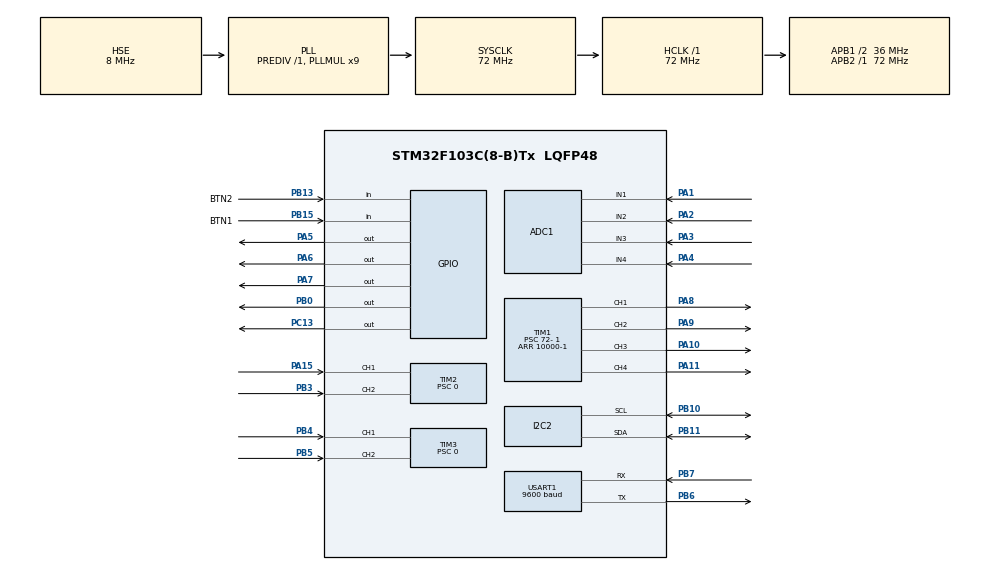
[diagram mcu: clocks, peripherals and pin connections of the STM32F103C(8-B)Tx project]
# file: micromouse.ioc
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ADC1.Channel-0\#ChannelRegularConversion=ADC_CHANNEL_1
ADC1.Channel-1\#ChannelRegularConversion=ADC_CHANNEL_2
ADC1.Channel-2\#ChannelRegularConversion=ADC_CHANNEL_3
ADC1.Channel-3\#ChannelRegularConversion=ADC_CHANNEL_4
ADC1.ContinuousConvMode=ENABLE
ADC1.NbrOfConversion=4
ADC1.NbrOfConversionFlag=1
ADC1.Rank-0\#ChannelRegularConversion=1
ADC1.Rank-1\#ChannelRegularConversion=2
ADC1.Rank-2\#ChannelRegularConversion=3
ADC1.Rank-3\#ChannelRegularConversion=4
ADC1.SamplingTime-0\#ChannelRegularConversion=ADC_SAMPLETIME_239CYCLES_5
ADC1.SamplingTime-1\#ChannelRegularConversion=ADC_SAMPLETIME_239CYCLES_5
ADC1.SamplingTime-2\#ChannelRegularConversion=ADC_SAMPLETIME_239CYCLES_5
ADC1.SamplingTime-3\#ChannelRegularConversion=ADC_SAMPLETIME_239CYCLES_5
ADC1.master=1
Dma.ADC1.0.Direction=DMA_PERIPH_TO_MEMORY
Dma.ADC1.0.Instance=DMA1_Channel1
Dma.ADC1.0.MemDataAlignment=DMA_MDATAALIGN_HALFWORD
Dma.ADC1.0.MemInc=DMA_MINC_ENABLE
Dma.ADC1.0.Mode=DMA_CIRCULAR
Dma.ADC1.0.PeriphDataAlignment=DMA_PDATAALIGN_HALFWORD
Dma.ADC1.0.PeriphInc=DMA_PINC_DISABLE
Dma.ADC1.0.Priority=DMA_PRIORITY_LOW
Dma.Request0=ADC1
I2C2.I2C_Mode=I2C_Fast
Mcu.Family=STM32F1
Mcu.Name=STM32F103C(8-B)Tx
Mcu.Package=LQFP48
NVIC.DMA1_Channel1_IRQn=true\:0\:0\:false\:false\:true\:false\:true\:true
NVIC.PriorityGroup=NVIC_PRIORITYGROUP_4
NVIC.TIM2_IRQn=true\:0\:0\:true\:false\:true\:true\:true\:true
NVIC.TIM3_IRQn=true\:0\:0\:true\:false\:true\:true\:true\:true
NVIC.TIM4_IRQn=true\:1\:0\:true\:false\:true\:true\:true\:true
PA1.Signal=ADCx_IN1
PA10.GPIO_Speed=GPIO_SPEED_FREQ_HIGH
PA10.Signal=S_TIM1_CH3
PA11.GPIO_Speed=GPIO_SPEED_FREQ_HIGH
PA11.Signal=S_TIM1_CH4
PA13.Mode=Serial_Wire
PA13.Signal=SYS_JTMS-SWDIO
PA14.Mode=Serial_Wire
PA14.Signal=SYS_JTCK-SWCLK
PA15.Signal=S_TIM2_CH1_ETR
PA2.Signal=ADCx_IN2
PA3.Signal=ADCx_IN3
PA4.Signal=ADCx_IN4
PA5.GPIO_Speed=GPIO_SPEED_FREQ_HIGH
PA5.Signal=GPIO_Output
PA6.GPIO_Speed=GPIO_SPEED_FREQ_HIGH
PA6.Signal=GPIO_Output
PA7.GPIO_Speed=GPIO_SPEED_FREQ_HIGH
PA7.Signal=GPIO_Output
PA8.GPIO_Speed=GPIO_SPEED_FREQ_HIGH
PA8.Signal=S_TIM1_CH1
PA9.GPIO_Speed=GPIO_SPEED_FREQ_HIGH
PA9.Signal=S_TIM1_CH2
PB0.GPIO_Speed=GPIO_SPEED_FREQ_HIGH
PB0.Signal=GPIO_Output
PB10.Mode=I2C
PB10.Signal=I2C2_SCL
PB11.Mode=I2C
PB11.Signal=I2C2_SDA
PB13.GPIO_Label=BTN2
PB13.GPIO_PuPd=GPIO_PULLDOWN
PB13.Signal=GPIO_Input
PB15.GPIO_Label=BTN1
PB15.GPIO_PuPd=GPIO_PULLDOWN
PB15.Signal=GPIO_Input
PB3.Signal=S_TIM2_CH2
PB4.Signal=S_TIM3_CH1
PB5.Signal=S_TIM3_CH2
PB6.Mode=Asynchronous
PB6.Signal=USART1_TX
PB7.Mode=Asynchronous
PB7.Signal=USART1_RX
PC13-TAMPER-RTC.Signal=GPIO_Output
PD0-OSC_IN.Mode=HSE-External-Oscillator
PD0-OSC_IN.Signal=RCC_OSC_IN
PD1-OSC_OUT.Mode=HSE-External-Oscillator
PD1-OSC_OUT.Signal=RCC_OSC_OUT
ProjectManager.HeapSize=0x200
ProjectManager.StackSize=0x400
ProjectManager.TargetToolchain=STM32CubeIDE
RCC.ADCPresc=RCC_ADCPCLK2_DIV6
RCC.AHBFreq_Value=72000000
RCC.APB1CLKDivider=RCC_HCLK_DIV2
RCC.APB1Freq_Value=36000000
RCC.APB1TimFreq_Value=72000000
RCC.APB2Freq_Value=72000000
RCC.APB2TimFreq_Value=72000000
RCC.HCLKFreq_Value=72000000
RCC.PLLMUL=RCC_PLL_MUL9
RCC.PLLSourceVirtual=RCC_PLLSOURCE_HSE
RCC.SYSCLKFreq_VALUE=72000000
RCC.SYSCLKSource=RCC_SYSCLKSOURCE_PLLCLK
RCC.USBFreq_Value=72000000
SH.ADCx_IN1.0=ADC1_IN1,IN1
SH.ADCx_IN2.0=ADC1_IN2,IN2
SH.ADCx_IN3.0=ADC1_IN3,IN3
SH.ADCx_IN4.0=ADC1_IN4,IN4
SH.S_TIM1_CH1.0=TIM1_CH1,PWM Generation1 CH1
SH.S_TIM1_CH2.0=TIM1_CH2,PWM Generation2 CH2
SH.S_TIM1_CH3.0=TIM1_CH3,PWM Generation3 CH3
SH.S_TIM1_CH4.0=TIM1_CH4,PWM Generation4 CH4
SH.S_TIM2_CH1_ETR.0=TIM2_CH1,Encoder_Interface
SH.S_TIM2_CH2.0=TIM2_CH2,Encoder_Interface
SH.S_TIM3_CH1.0=TIM3_CH1,Encoder_Interface
SH.S_TIM3_CH2.0=TIM3_CH2,Encoder_Interface
TIM1.AutoReloadPreload=TIM_AUTORELOAD_PRELOAD_ENABLE
TIM1.Channel-PWM\ Generation1\ CH1=TIM_CHANNEL_1
TIM1.Channel-PWM\ Generation2\ CH2=TIM_CHANNEL_2
TIM1.Channel-PWM\ Generation3\ CH3=TIM_CHANNEL_3
TIM1.Channel-PWM\ Generation4\ CH4=TIM_CHANNEL_4
TIM1.OCMode_PWM-PWM\ Generation3\ CH3=TIM_OCMODE_PWM1
TIM1.OCMode_PWM-PWM\ Generation4\ CH4=TIM_OCMODE_PWM1
TIM1.Period=10000-1
TIM1.Prescaler=72- 1
TIM2.AutoReloadPreload=TIM_AUTORELOAD_PRELOAD_DISABLE
TIM2.ClockDivision=TIM_CLOCKDIVISION_DIV1
TIM2.CounterMode=TIM_COUNTERMODE_UP
TIM2.EncoderMode=TIM_ENCODERMODE_TI12
TIM2.IC2Polarity=TIM_ICPOLARITY_RISING
TIM2.Prescaler=0
TIM3.ClockDivision=TIM_CLOCKDIVISION_DIV1
TIM3.CounterMode=TIM_COUNTERMODE_UP
TIM3.EncoderMode=TIM_ENCODERMODE_TI12
TIM3.IC1Prescaler=TIM_ICPSC_DIV1
TIM3.IC2Polarity=TIM_ICPOLARITY_FALLING
TIM3.Prescaler=0
TIM4.Period=1000 -1
TIM4.Prescaler=720-1
USART1.BaudRate=9600
USART1.Mode=MODE_TX
USART1.VirtualMode=VM_ASYNC
VP_TIM1_VS_ClockSourceINT.Mode=Internal
VP_TIM4_VS_ClockSourceINT.Mode=Internal
board=custom

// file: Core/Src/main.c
/* USER CODE BEGIN Header */
/**
 ******************************************************************************
 * @file           : main.c
 * @brief          : Main program body
 ******************************************************************************
 * @attention
 *
 * Copyright (c) 2025 STMicroelectronics.
 * All rights reserved.
 *
 * This software is licensed under terms that can be found in the LICENSE file
 * in the root directory of this software component.
 * If no LICENSE file comes with this software, it is provided AS-IS.
 *
 * Millis ++ in stm32f1xx_it.c
 ******************************************************************************
 */
/* USER CODE END Header */
#include "main.h"

ADC_HandleTypeDef hadc1;
DMA_HandleTypeDef hdma_adc1;

I2C_HandleTypeDef hi2c2;

TIM_HandleTypeDef htim1;
TIM_HandleTypeDef htim2;
TIM_HandleTypeDef htim3;
TIM_HandleTypeDef htim4;

UART_HandleTypeDef huart1;

void SystemClock_Config(void);
static void MX_GPIO_Init(void);
static void MX_DMA_Init(void);
static void MX_TIM1_Init(void);
static void MX_TIM2_Init(void);
static void MX_TIM3_Init(void);
static void MX_ADC1_Init(void);
static void MX_TIM4_Init(void);
static void MX_USART1_UART_Init(void);
static void MX_I2C2_Init(void);

/* USER CODE BEGIN 0 */
//void HAL_GPIO_EXTI_Callback(uint16_t GPIO_Pin) {
//	if(GPIO_Pin == BTN1_Pin) {
//		BTN_STATE1 = 1;
//	}
//	if(GPIO_Pin == BTN2_Pin) {
//		BTN_STATE2 = 1;
//	}
//}
void HAL_TIM_PeriodElapsedCallback(TIM_HandleTypeDef *htim) {

	if (htim == &htim4) {
		read_en_left(&encoder_left);
		read_en_right(&encoder_right);
	}
}

void HAL_ADC_ConvCpltCallback(ADC_HandleTypeDef *hadc) {
	if (hadc->Instance == ADC1) {
		HAL_ADC_Stop_DMA(hadc);  // Dừng ADC
		completeADC = 1;            // Dánh dấu đã hoàn tất
	}
}

void test2() {
	Move_to_middle(40, 180);
	PID_reset(&pid_steering);
	PID_reset(&pid_wall_stable);
	PID_reset(&pid_forward_right);
	PID_reset(&pid_forward_left);
//	delay_ms(5000);
	pushBack(&mouse_state, 0);

	// 10 bước đầu
	for (int i = 0; i < 10; i++) {
		pushBack(&mouse_state, 1);
	}
	// rẽ trái
	pushBack(&mouse_state, 3);
	// đi thẳng 3 steps
	for (int i = 0; i < 3; i++) {
		pushBack(&mouse_state, 1);
	}
	// rẽ trái
	pushBack(&mouse_state, 3);
	// đi thẳng 2 bước
	for (int i = 0; i < 2; i++) {
		pushBack(&mouse_state, 1);
	}

// rẽ phải
	pushBack(&mouse_state, 2);
	// đi 1 bước
	pushBack(&mouse_state, 1);

	// rẽ trái
	pushBack(&mouse_state, 3);
	// đi thẳng 1 bước
	pushBack(&mouse_state, 1);
	// rẽ phải
	pushBack(&mouse_state, 2);
	// đi thẳng 2 bước
	pushBack(&mouse_state, 1);
	for (int i = 0; i < 2; i++) {
		pushBack(&mouse_state, 1);
	}
	// rẽ phải
	pushBack(&mouse_state, 2);
	// đi thẳng 1 bước
	pushBack(&mouse_state, 1);
	// rẽ trái
	pushBack(&mouse_state, 3);
	// đi 1 bước
	pushBack(&mouse_state, 1);
	// rẽ trái
	pushBack(&mouse_state, 3);
	// đi 2 bước
	pushBack(&mouse_state, 1);
	pushBack(&mouse_state, 1);
	// rẽ trái
	pushBack(&mouse_state, 3);

	pushBack(&mouse_state, 1);
	pushBack(&mouse_state, 2);

	pushBack(&mouse_state, 1);
	pushBack(&mouse_state, 2);
	pushBack(&mouse_state, 1);

	//***********
	pushBack(&mouse_state, 2);

	for (int i = 0; i < 2; i++) {
		pushBack(&mouse_state, 1);
	}

	pushBack(&mouse_state, 3);
	pushBack(&mouse_state, 1);
	pushBack(&mouse_state, 3);
	pushBack(&mouse_state, 1);
	pushBack(&mouse_state, 2);
	pushBack(&mouse_state, 1);

	pushBack(&mouse_state, 0);
//	cnt_cell = 4;
	reset_encoder();
	for (int i = 0; i < mouse_state.size; i++) {
//		printf("%d\n\n", CNT_EXT);
		mouse_move();
		mouse_state.index++;
//		if (get(&mouse_state, mouse_state.index) == 2) {
//			encoder_cnt_left += 20;
//			encoder_cnt_right -= 20;
//		}
		calc_extra_cnt();

	}
	freeVector(&mouse_state);
//	Motor_stop();
}

void Solver() {
	Action nextMove = solver();
	switch (nextMove) {
	case FORWARD:
		Move_onecell();
		break;
	case RIGHT:
		delay_ms(400);
		Turn_right90_2();
		delay_ms(200);
		break;
	case LEFT:
		delay_ms(400);
		Turn_left90_2();
		delay_ms(200);
		break;
	case IDLE:
		break;
	}
}

int _write(int fd, char *ptr, int len) {
	HAL_StatusTypeDef hstatus;

	if (fd == 1 || fd == 2) {
		hstatus = HAL_UART_Transmit(&huart1, (uint8_t*) ptr, len,
				HAL_MAX_DELAY);
		if (hstatus == HAL_OK)
			return len;
		else
			return -1;
	}
	return -1;
}

/* USER CODE END 0 */

int main(void) {

	/* MCU Configuration--------------------------------------------------------*/

	/* Reset of all peripherals, Initializes the Flash interface and the Systick. */
	HAL_Init();

	/* Configure the system clock */
	SystemClock_Config();

	/* Initialize all configured peripherals */
	MX_GPIO_Init();
	MX_DMA_Init();
	MX_TIM1_Init();
	MX_TIM2_Init();
	MX_TIM3_Init();
	MX_ADC1_Init();
	MX_TIM4_Init();
	MX_USART1_UART_Init();
	MX_I2C2_Init();
	/* USER CODE BEGIN 2 */
//	store_data_memory(0x0801FC10, (uint8_t *) data, sizeof(data));
	HAL_GPIO_WritePin(GPIOC, GPIO_PIN_13, RESET);

	Motor_Init(&motor_right, &htim1, &htim1, TIM_CHANNEL_1, TIM_CHANNEL_2);
	Motor_Init(&motor_left, &htim1, &htim1, TIM_CHANNEL_3, TIM_CHANNEL_4);
	Encoder_Init(&encoder_left, &htim2);
	Encoder_Init(&encoder_right, &htim3);
	HAL_TIM_Base_Start_IT(&htim4);

	Set_Motor_speed(&motor_left, 0);
	Set_Motor_speed(&motor_right, 0);

	PID_init(&pid_forward_left, 1.2, 0.02, 0.9, 0, 0);
	PID_init(&pid_forward_right, 1.2, 0.02, 0.9, 0, 0);
	PID_init(&pid_steering, 8, 0, 3, 0, 0);
	PID_init(&pid_turn_left, 20, 0.02, 2, 0, 0);
	PID_init(&pid_turn_right, 20, 0.02, 2, 0, 0);
	PID_init(&pid_wall_stable, 10, 0, 1.4, 0, 0);
	PID_init(&pid_wall_front_left, 20, 0, 2, 0, 0);
	PID_init(&pid_wall_front_right, 20, 0, 2, 0, 0);

	initVector(&mouse_state, 1000);
//	while (MPU6050_Init(&hi2c2) == 1)
//		;
//	MPU6050_calibration(&hi2c2);
//	angle = 0;
	IR_init(&hadc1);
	ir_calibration();
	wall_calib_offset();

	mode();

	while (IR_LL > 100) {
		read_ir_adc();
//		printf("%f   %f   %f   %f\n", IR_FR_raw, IR_RR_raw, IR_FL_raw, IR_LL_raw);
//		delay_ms(40);
	}
	blink_led(2);
//	Move_onecell();
	test2();

	initialize();

	/* USER CODE END 2 */

	/* Infinite loop */
	/* USER CODE BEGIN WHILE */
//	Move_to_middle(30, 180);
//	PID_reset(&pid_steering);
//	PID_reset(&pid_wall_stable);
//	PID_reset(&pid_forward_right);
//	PID_reset(&pid_forward_left);bb
//	for(int i = 0; i < 10; i ++) {
//		printf("%ld\n", encoder_cnt_left - encoder_cnt_right);
//		blink_led(1);
//	}
//	delay_ms(400);
//	Turn_left90_2();
//	delay_ms(400);
//	Turn_left90_2();
	reset_encoder();
	while (1) {
		read_ir_adc();
		//		Solver();
		delay_ms(40);
//		printf("%d\n", floodFill());
		/* USER CODE END WHILE */

	}
}

void SystemClock_Config(void) {
	RCC_OscInitTypeDef RCC_OscInitStruct = { 0 };
	RCC_ClkInitTypeDef RCC_ClkInitStruct = { 0 };
	RCC_PeriphCLKInitTypeDef PeriphClkInit = { 0 };

	/** Initializes the RCC Oscillators according to the specified parameters
	 * in the RCC_OscInitTypeDef structure.
	 */
	RCC_OscInitStruct.OscillatorType = RCC_OSCILLATORTYPE_HSE;
	RCC_OscInitStruct.HSEState = RCC_HSE_ON;
	RCC_OscInitStruct.HSEPredivValue = RCC_HSE_PREDIV_DIV1;
	RCC_OscInitStruct.HSIState = RCC_HSI_ON;
	RCC_OscInitStruct.PLL.PLLState = RCC_PLL_ON;
	RCC_OscInitStruct.PLL.PLLSource = RCC_PLLSOURCE_HSE;
	RCC_OscInitStruct.PLL.PLLMUL = RCC_PLL_MUL9;
	if (HAL_RCC_OscConfig(&RCC_OscInitStruct) != HAL_OK) {
		Error_Handler();
	}

	/** Initializes the CPU, AHB and APB buses clocks
	 */
	RCC_ClkInitStruct.ClockType = RCC_CLOCKTYPE_HCLK | RCC_CLOCKTYPE_SYSCLK
			| RCC_CLOCKTYPE_PCLK1 | RCC_CLOCKTYPE_PCLK2;
	RCC_ClkInitStruct.SYSCLKSource = RCC_SYSCLKSOURCE_PLLCLK;
	RCC_ClkInitStruct.AHBCLKDivider = RCC_SYSCLK_DIV1;
	RCC_ClkInitStruct.APB1CLKDivider = RCC_HCLK_DIV2;
	RCC_ClkInitStruct.APB2CLKDivider = RCC_HCLK_DIV1;

	if (HAL_RCC_ClockConfig(&RCC_ClkInitStruct, FLASH_LATENCY_2) != HAL_OK) {
		Error_Handler();
	}
	PeriphClkInit.PeriphClockSelection = RCC_PERIPHCLK_ADC;
	PeriphClkInit.AdcClockSelection = RCC_ADCPCLK2_DIV6;
	if (HAL_RCCEx_PeriphCLKConfig(&PeriphClkInit) != HAL_OK) {
		Error_Handler();
	}
}

static void MX_ADC1_Init(void) {

	ADC_ChannelConfTypeDef sConfig = { 0 };

	/** Common config
	 */
	hadc1.Instance = ADC1;
	hadc1.Init.ScanConvMode = ADC_SCAN_ENABLE;
	hadc1.Init.ContinuousConvMode = ENABLE;
	hadc1.Init.DiscontinuousConvMode = DISABLE;
	hadc1.Init.ExternalTrigConv = ADC_SOFTWARE_START;
	hadc1.Init.DataAlign = ADC_DATAALIGN_RIGHT;
	hadc1.Init.NbrOfConversion = 4;
	if (HAL_ADC_Init(&hadc1) != HAL_OK) {
		Error_Handler();
	}

	/** Configure Regular Channel
	 */
	sConfig.Channel = ADC_CHANNEL_1;
	sConfig.Rank = ADC_REGULAR_RANK_1;
	sConfig.SamplingTime = ADC_SAMPLETIME_239CYCLES_5;
	if (HAL_ADC_ConfigChannel(&hadc1, &sConfig) != HAL_OK) {
		Error_Handler();
	}

	/** Configure Regular Channel
	 */
	sConfig.Channel = ADC_CHANNEL_2;
	sConfig.Rank = ADC_REGULAR_RANK_2;
	if (HAL_ADC_ConfigChannel(&hadc1, &sConfig) != HAL_OK) {
		Error_Handler();
	}

	/** Configure Regular Channel
	 */
	sConfig.Channel = ADC_CHANNEL_3;
	sConfig.Rank = ADC_REGULAR_RANK_3;
	if (HAL_ADC_ConfigChannel(&hadc1, &sConfig) != HAL_OK) {
		Error_Handler();
	}

	/** Configure Regular Channel
	 */
	sConfig.Channel = ADC_CHANNEL_4;
	sConfig.Rank = ADC_REGULAR_RANK_4;
	if (HAL_ADC_ConfigChannel(&hadc1, &sConfig) != HAL_OK) {
		Error_Handler();
	}

}

static void MX_I2C2_Init(void) {

	hi2c2.Instance = I2C2;
	hi2c2.Init.ClockSpeed = 400000;
	hi2c2.Init.DutyCycle = I2C_DUTYCYCLE_2;
	hi2c2.Init.OwnAddress1 = 0;
	hi2c2.Init.AddressingMode = I2C_ADDRESSINGMODE_7BIT;
	hi2c2.Init.DualAddressMode = I2C_DUALADDRESS_DISABLE;
	hi2c2.Init.OwnAddress2 = 0;
	hi2c2.Init.GeneralCallMode = I2C_GENERALCALL_DISABLE;
	hi2c2.Init.NoStretchMode = I2C_NOSTRETCH_DISABLE;
	if (HAL_I2C_Init(&hi2c2) != HAL_OK) {
		Error_Handler();
	}

}

static void MX_TIM1_Init(void) {

	TIM_ClockConfigTypeDef sClockSourceConfig = { 0 };
	TIM_MasterConfigTypeDef sMasterConfig = { 0 };
	TIM_OC_InitTypeDef sConfigOC = { 0 };
	TIM_BreakDeadTimeConfigTypeDef sBreakDeadTimeConfig = { 0 };

	htim1.Instance = TIM1;
	htim1.Init.Prescaler = 72 - 1;
	htim1.Init.CounterMode = TIM_COUNTERMODE_UP;
	htim1.Init.Period = 10000 - 1;
	htim1.Init.ClockDivision = TIM_CLOCKDIVISION_DIV1;
	htim1.Init.RepetitionCounter = 0;
	htim1.Init.AutoReloadPreload = TIM_AUTORELOAD_PRELOAD_ENABLE;
	if (HAL_TIM_Base_Init(&htim1) != HAL_OK) {
		Error_Handler();
	}
	sClockSourceConfig.ClockSource = TIM_CLOCKSOURCE_INTERNAL;
	if (HAL_TIM_ConfigClockSource(&htim1, &sClockSourceConfig) != HAL_OK) {
		Error_Handler();
	}
	if (HAL_TIM_PWM_Init(&htim1) != HAL_OK) {
		Error_Handler();
	}
	sMasterConfig.MasterOutputTrigger = TIM_TRGO_RESET;
	sMasterConfig.MasterSlaveMode = TIM_MASTERSLAVEMODE_DISABLE;
	if (HAL_TIMEx_MasterConfigSynchronization(&htim1, &sMasterConfig)
			!= HAL_OK) {
		Error_Handler();
	}
	sConfigOC.OCMode = TIM_OCMODE_PWM1;
	sConfigOC.Pulse = 0;
	sConfigOC.OCPolarity = TIM_OCPOLARITY_HIGH;
	sConfigOC.OCNPolarity = TIM_OCNPOLARITY_HIGH;
	sConfigOC.OCFastMode = TIM_OCFAST_DISABLE;
	sConfigOC.OCIdleState = TIM_OCIDLESTATE_RESET;
	sConfigOC.OCNIdleState = TIM_OCNIDLESTATE_RESET;
	if (HAL_TIM_PWM_ConfigChannel(&htim1, &sConfigOC, TIM_CHANNEL_1)
			!= HAL_OK) {
		Error_Handler();
	}
	if (HAL_TIM_PWM_ConfigChannel(&htim1, &sConfigOC, TIM_CHANNEL_2)
			!= HAL_OK) {
		Error_Handler();
	}
	if (HAL_TIM_PWM_ConfigChannel(&htim1, &sConfigOC, TIM_CHANNEL_3)
			!= HAL_OK) {
		Error_Handler();
	}
	if (HAL_TIM_PWM_ConfigChannel(&htim1, &sConfigOC, TIM_CHANNEL_4)
			!= HAL_OK) {
		Error_Handler();
	}
	sBreakDeadTimeConfig.OffStateRunMode = TIM_OSSR_DISABLE;
	sBreakDeadTimeConfig.OffStateIDLEMode = TIM_OSSI_DISABLE;
	sBreakDeadTimeConfig.LockLevel = TIM_LOCKLEVEL_OFF;
	sBreakDeadTimeConfig.DeadTime = 0;
	sBreakDeadTimeConfig.BreakState = TIM_BREAK_DISABLE;
	sBreakDeadTimeConfig.BreakPolarity = TIM_BREAKPOLARITY_HIGH;
	sBreakDeadTimeConfig.AutomaticOutput = TIM_AUTOMATICOUTPUT_DISABLE;
	if (HAL_TIMEx_ConfigBreakDeadTime(&htim1, &sBreakDeadTimeConfig)
			!= HAL_OK) {
		Error_Handler();
	}
	HAL_TIM_MspPostInit(&htim1);

}

static void MX_TIM2_Init(void) {

	TIM_Encoder_InitTypeDef sConfig = { 0 };
	TIM_MasterConfigTypeDef sMasterConfig = { 0 };

	htim2.Instance = TIM2;
	htim2.Init.Prescaler = 0;
	htim2.Init.CounterMode = TIM_COUNTERMODE_UP;
	htim2.Init.Period = 65535;
	htim2.Init.ClockDivision = TIM_CLOCKDIVISION_DIV1;
	htim2.Init.AutoReloadPreload = TIM_AUTORELOAD_PRELOAD_DISABLE;
	sConfig.EncoderMode = TIM_ENCODERMODE_TI12;
	sConfig.IC1Polarity = TIM_ICPOLARITY_RISING;
	sConfig.IC1Selection = TIM_ICSELECTION_DIRECTTI;
	sConfig.IC1Prescaler = TIM_ICPSC_DIV1;
	sConfig.IC1Filter = 0;
	sConfig.IC2Polarity = TIM_ICPOLARITY_RISING;
	sConfig.IC2Selection = TIM_ICSELECTION_DIRECTTI;
	sConfig.IC2Prescaler = TIM_ICPSC_DIV1;
	sConfig.IC2Filter = 0;
	if (HAL_TIM_Encoder_Init(&htim2, &sConfig) != HAL_OK) {
		Error_Handler();
	}
	sMasterConfig.MasterOutputTrigger = TIM_TRGO_RESET;
	sMasterConfig.MasterSlaveMode = TIM_MASTERSLAVEMODE_DISABLE;
	if (HAL_TIMEx_MasterConfigSynchronization(&htim2, &sMasterConfig)
			!= HAL_OK) {
		Error_Handler();
	}

}

static void MX_TIM3_Init(void) {

	TIM_Encoder_InitTypeDef sConfig = { 0 };
	TIM_MasterConfigTypeDef sMasterConfig = { 0 };

	htim3.Instance = TIM3;
	htim3.Init.Prescaler = 0;
	htim3.Init.CounterMode = TIM_COUNTERMODE_UP;
	htim3.Init.Period = 65535;
	htim3.Init.ClockDivision = TIM_CLOCKDIVISION_DIV1;
	htim3.Init.AutoReloadPreload = TIM_AUTORELOAD_PRELOAD_DISABLE;
	sConfig.EncoderMode = TIM_ENCODERMODE_TI12;
	sConfig.IC1Polarity = TIM_ICPOLARITY_RISING;
	sConfig.IC1Selection = TIM_ICSELECTION_DIRECTTI;
	sConfig.IC1Prescaler = TIM_ICPSC_DIV1;
	sConfig.IC1Filter = 0;
	sConfig.IC2Polarity = TIM_ICPOLARITY_FALLING;
	sConfig.IC2Selection = TIM_ICSELECTION_DIRECTTI;
	sConfig.IC2Prescaler = TIM_ICPSC_DIV1;
	sConfig.IC2Filter = 0;
	if (HAL_TIM_Encoder_Init(&htim3, &sConfig) != HAL_OK) {
		Error_Handler();
	}
	sMasterConfig.MasterOutputTrigger = TIM_TRGO_RESET;
	sMasterConfig.MasterSlaveMode = TIM_MASTERSLAVEMODE_DISABLE;
	if (HAL_TIMEx_MasterConfigSynchronization(&htim3, &sMasterConfig)
			!= HAL_OK) {
		Error_Handler();
	}

}

static void MX_TIM4_Init(void) {

	TIM_ClockConfigTypeDef sClockSourceConfig = { 0 };
	TIM_MasterConfigTypeDef sMasterConfig = { 0 };

	htim4.Instance = TIM4;
	htim4.Init.Prescaler = 720 - 1;
	htim4.Init.CounterMode = TIM_COUNTERMODE_UP;
	htim4.Init.Period = 1000 - 1;
	htim4.Init.ClockDivision = TIM_CLOCKDIVISION_DIV1;
	htim4.Init.AutoReloadPreload = TIM_AUTORELOAD_PRELOAD_DISABLE;
	if (HAL_TIM_Base_Init(&htim4) != HAL_OK) {
		Error_Handler();
	}
	sClockSourceConfig.ClockSource = TIM_CLOCKSOURCE_INTERNAL;
	if (HAL_TIM_ConfigClockSource(&htim4, &sClockSourceConfig) != HAL_OK) {
		Error_Handler();
	}
	sMasterConfig.MasterOutputTrigger = TIM_TRGO_RESET;
	sMasterConfig.MasterSlaveMode = TIM_MASTERSLAVEMODE_DISABLE;
	if (HAL_TIMEx_MasterConfigSynchronization(&htim4, &sMasterConfig)
			!= HAL_OK) {
		Error_Handler();
	}

}

static void MX_USART1_UART_Init(void) {

	huart1.Instance = USART1;
	huart1.Init.BaudRate = 9600;
	huart1.Init.WordLength = UART_WORDLENGTH_8B;
	huart1.Init.StopBits = UART_STOPBITS_1;
	huart1.Init.Parity = UART_PARITY_NONE;
	huart1.Init.Mode = UART_MODE_TX;
	huart1.Init.HwFlowCtl = UART_HWCONTROL_NONE;
	huart1.Init.OverSampling = UART_OVERSAMPLING_16;
	if (HAL_UART_Init(&huart1) != HAL_OK) {
		Error_Handler();
	}

}

static void MX_DMA_Init(void) {

	/* DMA controller clock enable */
	__HAL_RCC_DMA1_CLK_ENABLE();

	/* DMA interrupt init */
	/* DMA1_Channel1_IRQn interrupt configuration */
	HAL_NVIC_SetPriority(DMA1_Channel1_IRQn, 0, 0);
	HAL_NVIC_EnableIRQ(DMA1_Channel1_IRQn);

}

static void MX_GPIO_Init(void) {
	GPIO_InitTypeDef GPIO_InitStruct = { 0 };

	/* GPIO Ports Clock Enable */
	__HAL_RCC_GPIOC_CLK_ENABLE();
	__HAL_RCC_GPIOD_CLK_ENABLE();
	__HAL_RCC_GPIOA_CLK_ENABLE();
	__HAL_RCC_GPIOB_CLK_ENABLE();

	/*Configure GPIO pin Output Level */
	HAL_GPIO_WritePin(GPIOC, GPIO_PIN_13, GPIO_PIN_RESET);

	/*Configure GPIO pin Output Level */
	HAL_GPIO_WritePin(GPIOA, GPIO_PIN_5 | GPIO_PIN_6 | GPIO_PIN_7,
			GPIO_PIN_RESET);

	/*Configure GPIO pin Output Level */
	HAL_GPIO_WritePin(GPIOB, GPIO_PIN_0, GPIO_PIN_RESET);

	/*Configure GPIO pin : PC13 */
	GPIO_InitStruct.Pin = GPIO_PIN_13;
	GPIO_InitStruct.Mode = GPIO_MODE_OUTPUT_PP;
	GPIO_InitStruct.Pull = GPIO_NOPULL;
	GPIO_InitStruct.Speed = GPIO_SPEED_FREQ_LOW;
	HAL_GPIO_Init(GPIOC, &GPIO_InitStruct);

	/*Configure GPIO pins : PA5 PA6 PA7 */
	GPIO_InitStruct.Pin = GPIO_PIN_5 | GPIO_PIN_6 | GPIO_PIN_7;
	GPIO_InitStruct.Mode = GPIO_MODE_OUTPUT_PP;
	GPIO_InitStruct.Pull = GPIO_NOPULL;
	GPIO_InitStruct.Speed = GPIO_SPEED_FREQ_HIGH;
	HAL_GPIO_Init(GPIOA, &GPIO_InitStruct);

	/*Configure GPIO pin : PB0 */
	GPIO_InitStruct.Pin = GPIO_PIN_0;
	GPIO_InitStruct.Mode = GPIO_MODE_OUTPUT_PP;
	GPIO_InitStruct.Pull = GPIO_NOPULL;
	GPIO_InitStruct.Speed = GPIO_SPEED_FREQ_HIGH;
	HAL_GPIO_Init(GPIOB, &GPIO_InitStruct);

	/*Configure GPIO pins : BTN2_Pin BTN1_Pin */
	GPIO_InitStruct.Pin = BTN2_Pin | BTN1_Pin;
	GPIO_InitStruct.Mode = GPIO_MODE_INPUT;
	GPIO_InitStruct.Pull = GPIO_PULLDOWN;
	HAL_GPIO_Init(GPIOB, &GPIO_InitStruct);

}

void Error_Handler(void) {
	__disable_irq();
	while (1) {
	}
}
